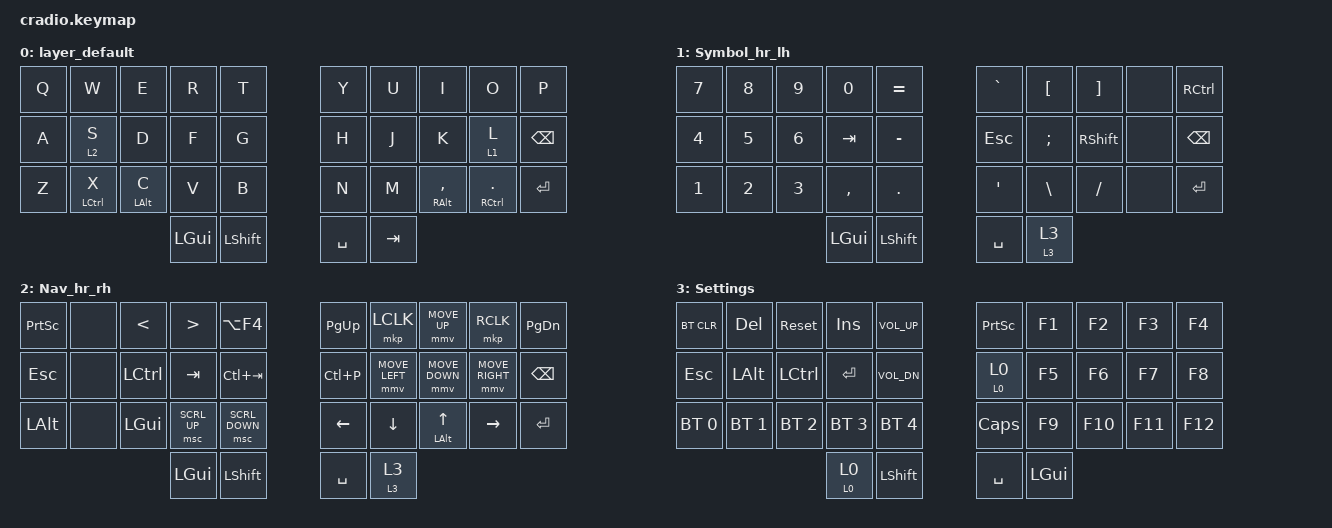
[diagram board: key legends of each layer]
/*
 * Copyright (c) 2020 The ZMK Contributors
 * goat
 * SPDX-License-Identifier: MIT
 */

#define ZMK_POINTING_DEFAULT_MOVE_VAL 1500  // default: 600
#define ZMK_POINTING_DEFAULT_SCRL_VAL 20    // default: 10

#include <behaviors/mouse_keys.dtsi>
#include <dt-bindings/zmk/mouse.h>
#include <behaviors.dtsi>
#include <dt-bindings/zmk/bt.h>
#include <dt-bindings/zmk/keys.h>
#include <dt-bindings/zmk/pointing.h>

&mt {
    // flavor = "tap-preferred";
    // tapping_term_ms = <200>;
};

/ {
    chosen {
        zmk,matrix_transform = &default_transform;

        //zmk,matrix_transform = &five_column_transform;
    };
};

/ {
    behaviors {
        //mod kp when u hold, and to layer when you tap

        mtt: mod_tap_to {
            compatible = "zmk,behavior-hold-tap";
            label = "MOD_TAP_TO";
            #binding-cells = <2>;
            flavor = "balanced";
            tapping-term-ms = <200>;
            quick-tap-ms = <0>;
            bindings = <&kp>, <&to>;
        };

        //momentary layer on hold, and to layer on tap

        mlt: momentary_layer_tap_to {
            compatible = "zmk,behavior-hold-tap";
            label = "MOMENTARY_LAYER_TAP_TO";
            #binding-cells = <2>;
            flavor = "balanced";
            tapping-term-ms = <200>;
            quick-tap-ms = <0>;
            bindings = <&mo>, <&to>;
        };

        hrm: home_row_mod {
            compatible = "zmk,behavior-hold-tap";
            label = "home row mod";
            #binding-cells = <2>;
            flavor = "balanced";
            tapping-term-ms = <200>;
            quick-tap-ms = <0>;
            bindings = <&mo>, <&kp>;
        };
    };

    combos {
        compatible = "zmk,combos";

        combo_unlock {
            timeout-ms = <50>;
            key-positions = <11 12 13 16 17 18>;
            bindings = <&to 0>;
        };

        combo_lock {
            timeout-ms = <50>;
            key-positions = <2 10>;
            layers = <2>;
            bindings = <&to 0>;
        };

        settings {
            bindings = <&mlt 3 3>;
            key-positions = <10 11 12 13 16 17 18 19>;
        };
    };

    keymap {
        compatible = "zmk,keymap";

        layer_default {
            bindings = <
&kp Q  &kp W        &kp E           &kp R         &kp T             &kp Y      &kp U    &kp I                &kp O             &kp P
&kp A  &hrm 2 S     &kp D           &kp F         &kp G             &kp H      &kp J    &kp K                &hrm 1 L          &kp BACKSPACE
&kp Z  &mt LCTRL X  &mt LEFT_ALT C  &kp V         &kp B             &kp N      &kp M    &mt RIGHT_ALT COMMA  &mt RCTRL PERIOD  &kp ENTER
                                    &kp LEFT_GUI  &kp LEFT_SHIFT    &kp SPACE  &kp TAB
            >;
        };

        Symbol_hr_lh {
            bindings = <
&kp N7  &kp N8  &kp N9  &kp N0        &kp EQUAL         &kp GRAVE  &kp LBKT       &kp RBKT         &none  &kp RIGHT_CONTROL
&kp N4  &kp N5  &kp N6  &kp TAB       &kp MINUS         &kp ESC    &kp SEMI       &kp RIGHT_SHIFT  &none  &kp BACKSPACE
&kp N1  &kp N2  &kp N3  &kp COMMA     &kp PERIOD        &kp APOS   &kp BACKSLASH  &kp SLASH        &none  &kp ENTER
                        &kp LEFT_GUI  &kp LEFT_SHIFT    &kp SPACE  &mlt 3 3
            >;
        };

        Nav_hr_rh {
            bindings = <
&kp PRINTSCREEN  &none  &kp LESS_THAN  &kp GREATER_THAN  &kp LA(F4)        &kp PAGE_UP     &mkp LCLK       &mmv MOVE_UP           &mkp RCLK        &kp PAGE_DOWN
&kp ESC          &none  &kp LCTRL      &kp TAB           &kp LC(TAB)       &kp LC(P)       &mmv MOVE_LEFT  &mmv MOVE_DOWN         &mmv MOVE_RIGHT  &kp BACKSPACE
&kp LEFT_ALT     &none  &kp LEFT_GUI   &msc SCRL_UP      &msc SCRL_DOWN    &kp LEFT_ARROW  &kp DOWN_ARROW  &mt LEFT_ALT UP_ARROW  &kp RIGHT_ARROW  &kp ENTER
                                       &kp LEFT_GUI      &kp LEFT_SHIFT    &kp SPACE       &mlt 3 3
            >;
        };

        Settings {
            bindings = <
&bt BT_CLR    &kp DELETE    &sys_reset        &kp INS       &kp C_VOL_UP      &kp PRINTSCREEN  &kp F1        &kp F2   &kp F3   &kp F4
&kp ESC       &kp LALT      &kp LEFT_CONTROL  &kp ENTER     &kp C_VOL_DN      &mlt 0 0         &kp F5        &kp F6   &kp F7   &kp F8
&bt BT_SEL 0  &bt BT_SEL 1  &bt BT_SEL 2      &bt BT_SEL 3  &bt BT_SEL 4      &kp CAPS         &kp F9        &kp F10  &kp F11  &kp F12
                                              &mlt 0 0      &kp LEFT_SHIFT    &kp SPACE        &kp LEFT_GUI
            >;
        };
    };
};
